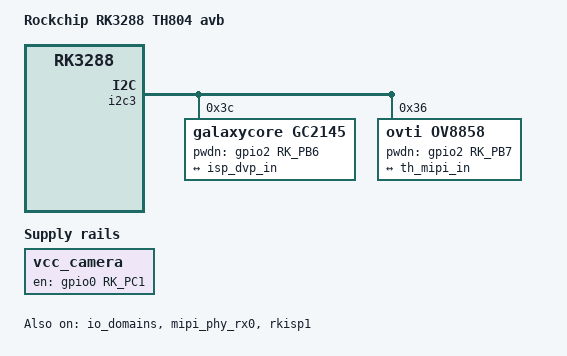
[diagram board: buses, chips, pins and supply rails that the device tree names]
/*
 * Copyright (c) 2018 Fuzhou Rockchip Electronics Co., Ltd
 *
 * SPDX-License-Identifier: (GPL-2.0+ OR MIT)
 */

/dts-v1/;
#include "rk3288-th804.dtsi"

/ {
	model = "Rockchip RK3288 TH804 avb";
	compatible = "rockchip,rk3288-th804", "rockchip,rk3288";
	chosen {
		bootargs = "earlycon=uart8250,mmio32,0xff690000 vmalloc=496M console=ttyFIQ0 androidboot.baseband=N/A androidboot.veritymode=enforcing androidboot.hardware=rk30board androidboot.console=ttyFIQ0 init=/init kpti=0";
	};
	vcc_camera: vcc-camera-regulator {
		compatible = "regulator-fixed";
		gpio = <&gpio0 RK_PC1 GPIO_ACTIVE_HIGH>;
		pinctrl-names = "default";
		pinctrl-0 = <&camera_pwr>;
		regulator-name = "vcc_camera";
		enable-active-high;
		regulator-always-on;
		regulator-boot-on;
	};
};

&io_domains {
	status = "okay";

	dvp-supply = <&vcc_18>;
	sdcard-supply = <&vccio_sd>;
	wifi-supply = <&vccio_wl>;
};

&isp {
	status = "disabled";
};

&i2c3 {
	status = "okay";

	gc2145: gc2145@3c {
		compatible = "galaxycore,gc2145";
		reg = <0x3c>;
		clocks = <&cru SCLK_VIP_OUT>;
		clock-names = "xvclk";

		/*power-gpio = <&gpio0 RK_PC1 GPIO_ACTIVE_HIGH>; */
		pwdn-gpios = <&gpio2 RK_PB6 GPIO_ACTIVE_HIGH>;

		rockchip,camera-module-index = <1>;
		rockchip,camera-module-facing = "front";
		rockchip,camera-module-name = "CameraKing";
		rockchip,camera-module-lens-name = "Largan";
		port {
			gc2145_out: endpoint {
				remote-endpoint = <&isp_dvp_in>;
			};
		};
	};

	ov8858: ov8858@36 {
		compatible = "ovti,ov8858";
		reg = <0x36>;
		clocks = <&cru SCLK_VIP_OUT>;
		clock-names = "xvclk";

		rockchip,camera-module-index = <0>;
		rockchip,camera-module-facing = "back";
		rockchip,camera-module-name = "CameraKing";
		rockchip,camera-module-lens-name = "Largan-9569A2";
		/*power-gpio = <&gpio0 RK_PC1 GPIO_ACTIVE_HIGH>; */
		pwdn-gpios = <&gpio2 RK_PB7 GPIO_ACTIVE_HIGH>;
		port {
			ov8858_out: endpoint {
				remote-endpoint = <&th_mipi_in>;
				data-lanes = <1 2>;
			};
		};
	};

};

&mipi_phy_rx0 {
	status = "okay";

	ports {
		#address-cells = <1>;
		#size-cells = <0>;

		port@0 {
			reg = <0>;
			#address-cells = <1>;
			#size-cells = <0>;

			th_mipi_in: endpoint@1 {
				reg = <1>;
				remote-endpoint = <&ov8858_out>;
				data-lanes = <1 2>;
			};
		};

		port@1 {
			reg = <1>;
			#address-cells = <1>;
			#size-cells = <0>;

			dphy_rx_out: endpoint@0 {
				reg = <0>;
				remote-endpoint = <&isp_mipi_in>;
			};
		};
	};
};

&pinctrl {
	camera {
		camera_pwr: camera-pwr {
			rockchip,pins = <0 RK_PC1 RK_FUNC_GPIO &pcfg_pull_none>;
		};
	};

	pcfg_pull_none_4ma: pcfg-pull-none-4ma {
		bias-disable;
		drive-strength = <4>;
	};

	isp_pin {
		isp_mipi: isp-mipi {
			rockchip,pins =
				/* cif_clkout */
				<2 RK_PB3 1 &pcfg_pull_none_4ma>;
		};

		isp_dvp_d2d9: isp-d2d9 {
			rockchip,pins =
				/* cif_data2 ... cif_data9 */
				<2 RK_PA0 1 &pcfg_pull_down>,
				<2 RK_PA1 1 &pcfg_pull_down>,
				<2 RK_PA2 1 &pcfg_pull_down>,
				<2 RK_PA3 1 &pcfg_pull_down>,
				<2 RK_PA4 1 &pcfg_pull_down>,
				<2 RK_PA5 1 &pcfg_pull_down>,
				/* cif_sync, cif_href */
				<2 RK_PB0 1 &pcfg_pull_down>,
				<2 RK_PB1 1 &pcfg_pull_down>,
				/* cif_clkin */
				<2 RK_PB2 1 &pcfg_pull_down>;
		};

		isp_dvp_d0d1: isp-d0d1 {
			rockchip,pins =
				/* cif_data0, cif_data1 */
				<2 RK_PB4 1 &pcfg_pull_down>,
				<2 RK_PB5 1 &pcfg_pull_down>;
		};
	};
};

&rkisp1 {
	status = "okay";
	pinctrl-names = "default";
	pinctrl-0 = <&isp_dvp_d2d9 &isp_dvp_d0d1 &isp_mipi>;
	port {
		#address-cells = <1>;
		#size-cells = <0>;

		isp_dvp_in: endpoint@1 {
			reg = <1>;
			remote-endpoint = <&gc2145_out>;
		};

		isp_mipi_in: endpoint@0 {
			reg = <0>;
			remote-endpoint = <&dphy_rx_out>;
		};

	};
};

&vopb {
	assigned-clocks = <&cru DCLK_VOP0>;
	assigned-clock-parents = <&cru PLL_CPLL>;
};

&vopl {
	assigned-clocks = <&cru DCLK_VOP1>;
	assigned-clock-parents = <&cru PLL_GPLL>;
};
